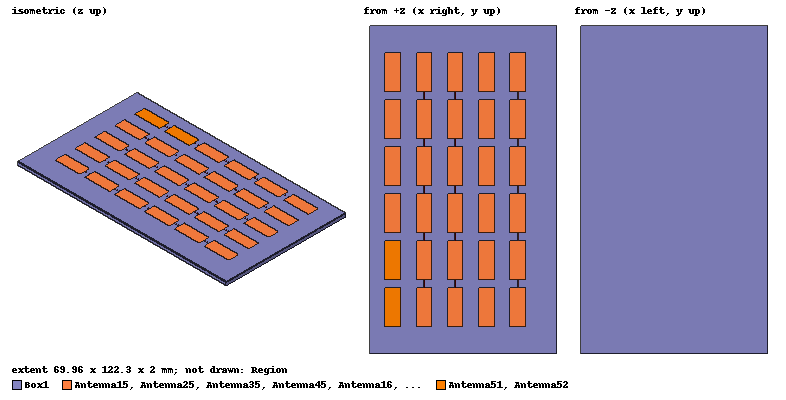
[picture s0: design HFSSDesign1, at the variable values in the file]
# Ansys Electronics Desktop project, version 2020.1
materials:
  vacuum: permittivity=1
  FR4_epoxy: permittivity=4.4 dielectric_loss_tangent=0.02
  Material1: permittivity=2.2 dielectric_loss_tangent=0.002

design HFSSDesign1 (HFSS, DrivenTerminal, model units mm)
options: Calculate_Lossy_Dielectrics
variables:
  x0 = 11.66mm
  y0 = W+2.904mm
  h0 = 2mm
  Wfeed = 6.012mm
  Lfeed = 28mm
  Wmatch = 1.115mm
  Lmatch = 22.76mm
  W = 14.563mm
  L = lambda/10
  w1 = 0.254mm
  L1 = y0-W
  L2 = y0-W
  L3 = y0-W
  lambda = 58.25mm
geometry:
  Box1 [FR4_epoxy] = box(corner=(-4*x0, -y0, 0mm), size=(x0*6, y0*7, -h0))
  Region [vacuum] = region(absolute_offset=35mm on all sides)
  RFswitch21 = rectangle(corner=(-L/2-w1/2, W/2, 0mm), x_size=w1, y_size=L1)
  Antenna23 = rectangle(corner=(-L, -W/2+2*y0, 0mm), x_size=L, y_size=W)
  RFswitch22 = rectangle(corner=(-L/2-w1/2, W/2+y0, 0mm), x_size=w1, y_size=L3)
  Antenna13 = rectangle(corner=(-L+x0, -W/2+2*y0, 0mm), x_size=L, y_size=W)
  RFswitch11 = rectangle(corner=(-L/2-w1/2+x0, W/2, 0mm), x_size=w1, y_size=L2)
  RFswitch12 = rectangle(corner=(-L/2-w1/2+x0, W/2+y0, 0mm), x_size=w1, y_size=L2)
  Port13 = rectangle(corner=(x0, y0/2-W/2+2*y0, 0mm), y_size=W, z_size=-h0)
  Port14 = rectangle(corner=(x0, y0/2-W/2+3*y0, 0mm), y_size=W, z_size=-h0)
  Antenna14 = rectangle(corner=(-L+x0, -W/2+3*y0, 0mm), x_size=L, y_size=W)
  Antenna15 = rectangle(corner=(-L+x0, -W/2+4*y0, 0mm), x_size=L, y_size=W)
  Antenna24 = rectangle(corner=(-L, -W/2+3*y0, 0mm), x_size=L, y_size=W)
  Antenna25 = rectangle(corner=(-L, -W/2+4*y0, 0mm), x_size=L, y_size=W)
  Port23 = rectangle(corner=(0mm, y0/2-W/2+2*y0, 0mm), y_size=W, z_size=-h0)
  Port24 = rectangle(corner=(0mm, y0/2-W/2+3*y0, 0mm), y_size=W, z_size=-h0)
  Antenna31 = rectangle(corner=(-L-x0, -W/2, 0mm), x_size=L, y_size=W)
  Antenna32 = rectangle(corner=(-L-x0, -W/2+y0, 0mm), x_size=L, y_size=W)
  Antenna33 = rectangle(corner=(-L-x0, -W/2+2*y0, 0mm), x_size=L, y_size=W)
  Antenna34 = rectangle(corner=(-L-x0, -W/2+3*y0, 0mm), x_size=L, y_size=W)
  Antenna35 = rectangle(corner=(-L-x0, -W/2+4*y0, 0mm), x_size=L, y_size=W)
  Antenna41 = rectangle(corner=(-L-2*x0, -W/2, 0mm), x_size=L, y_size=W)
  Antenna42 = rectangle(corner=(-L-2*x0, -W/2+y0, 0mm), x_size=L, y_size=W)
  Antenna43 = rectangle(corner=(-L-2*x0, -W/2+2*y0, 0mm), x_size=L, y_size=W)
  Antenna44 = rectangle(corner=(-L-2*x0, -W/2+3*y0, 0mm), x_size=L, y_size=W)
  Antenna45 = rectangle(corner=(-L-2*x0, -W/2+4*y0, 0mm), x_size=L, y_size=W)
  Antenna51 = rectangle(corner=(-L-3*x0, -W/2, 0mm), x_size=L, y_size=W)
  Antenna52 = rectangle(corner=(-L-3*x0, -W/2+y0, 0mm), x_size=L, y_size=W)
  Antenna53 = rectangle(corner=(-L-3*x0, -W/2+y0*2, 0mm), x_size=L, y_size=W)
  Antenna54 = rectangle(corner=(-L-3*x0, -W/2+y0*3, 0mm), x_size=L, y_size=W)
  Antenna55 = rectangle(corner=(-L-3*x0, -W/2+y0*4, 0mm), x_size=L, y_size=W)
  Port31 = rectangle(corner=(-x0, y0/2-W/2, 0mm), y_size=W, z_size=-h0)
  Port32 = rectangle(corner=(-x0, y0/2-W/2+y0, 0mm), y_size=W, z_size=-h0)
  Port33 = rectangle(corner=(-x0, y0/2-W/2+2*y0, 0mm), y_size=W, z_size=-h0)
  Port34 = rectangle(corner=(-x0, y0/2-W/2+3*y0, 0mm), y_size=W, z_size=-h0)
  Port41 = rectangle(corner=(-2*x0, y0/2-W/2, 0mm), y_size=W, z_size=-h0)
  Port42 = rectangle(corner=(-2*x0, y0/2-W/2+y0, 0mm), y_size=W, z_size=-h0)
  Port43 = rectangle(corner=(-2*x0, y0/2-W/2+2*y0, 0mm), y_size=W, z_size=-h0)
  Port44 = rectangle(corner=(-2*x0, y0/2-W/2+3*y0, 0mm), y_size=W, z_size=-h0)
  Port51 = rectangle(corner=(-3*x0, y0/2-W/2, 0mm), y_size=W, z_size=-h0)
  Port52 = rectangle(corner=(-3*x0, y0/2-W/2+y0, 0mm), y_size=W, z_size=-h0)
  Port53 = rectangle(corner=(-3*x0, y0/2-W/2+2*y0, 0mm), y_size=W, z_size=-h0)
  Port54 = rectangle(corner=(-3*x0, y0/2-W/2+3*y0, 0mm), y_size=W, z_size=-h0)
  Antenna11 = rectangle(corner=(-L+x0, -W/2, 0mm), x_size=L, y_size=W)
  Port11 = rectangle(corner=(x0, y0/2-W/2, 0mm), y_size=W, z_size=-h0)
  Antenna12 = rectangle(corner=(-L+x0, -W/2+y0, 0mm), x_size=L, y_size=W)
  Port12 = rectangle(corner=(x0, y0/2-W/2+y0, 0mm), y_size=W, z_size=-h0)
  Antenna21 = rectangle(corner=(-L, -W/2, 0mm), x_size=L, y_size=W)
  Antenna22 = rectangle(corner=(-L, -W/2+y0, 0mm), x_size=L, y_size=W)
  Port21 = rectangle(corner=(0mm, y0/2-W/2, 0mm), y_size=W, z_size=-h0)
  Port22 = rectangle(corner=(0mm, y0/2-W/2+y0, 0mm), y_size=W, z_size=-h0)
  RFswitch23 = rectangle(corner=(-L/2-w1/2, W/2+2*y0, 0mm), x_size=w1, y_size=L3)
  RFswitch24 = rectangle(corner=(-L/2-w1/2, W/2+3*y0, 0mm), x_size=w1, y_size=L3)
  RFswitch13 = rectangle(corner=(-L/2-w1/2+x0, W/2+2*y0, 0mm), x_size=w1, y_size=L2)
  RFswitch14 = rectangle(corner=(-L/2-w1/2+x0, W/2+3*y0, 0mm), x_size=w1, y_size=L2)
  RFswitch31 = rectangle(corner=(-L/2-w1/2-x0, W/2, 0mm), x_size=w1, y_size=L1)
  RFswitch32 = rectangle(corner=(-L/2-w1/2-x0, W/2+y0, 0mm), x_size=w1, y_size=L1)
  RFswitch33 = rectangle(corner=(-L/2-w1/2-x0, W/2+2*y0, 0mm), x_size=w1, y_size=L1)
  RFswitch34 = rectangle(corner=(-L/2-w1/2-x0, W/2+3*y0, 0mm), x_size=w1, y_size=L1)
  RFswitch41 = rectangle(corner=(-L/2-w1/2-2*x0, W/2, 0mm), x_size=w1, y_size=L1)
  RFswitch42 = rectangle(corner=(-L/2-w1/2-2*x0, W/2+y0, 0mm), x_size=w1, y_size=L1)
  RFswitch43 = rectangle(corner=(-L/2-w1/2-2*x0, W/2+2*y0, 0mm), x_size=w1, y_size=L1)
  RFswitch44 = rectangle(corner=(-L/2-w1/2-2*x0, W/2+3*y0, 0mm), x_size=w1, y_size=L1)
  RFswitch51 = rectangle(corner=(-L/2-w1/2-3*x0, W/2, 0mm), x_size=w1, y_size=L1)
  RFswitch52 = rectangle(corner=(-L/2-w1/2-3*x0, W/2+y0, 0mm), x_size=w1, y_size=L1)
  RFswitch53 = rectangle(corner=(-L/2-w1/2-3*x0, W/2+2*y0, 0mm), x_size=w1, y_size=L1)
  RFswitch54 = rectangle(corner=(-L/2-w1/2-3*x0, W/2+3*y0, 0mm), x_size=w1, y_size=L1)
  Antenna16 = rectangle(corner=(-L+x0, -W/2+5*y0, 0mm), x_size=L, y_size=W)
  RFswitch15 = rectangle(corner=(-L/2-w1/2+x0, W/2+4*y0, 0mm), x_size=w1, y_size=L2)
  Antenna26 = rectangle(corner=(-L, -W/2+5*y0, 0mm), x_size=L, y_size=W)
  RFswitch25 = rectangle(corner=(-L/2-w1/2, W/2+4*y0, 0mm), x_size=w1, y_size=L3)
  Antenna36 = rectangle(corner=(-L-x0, -W/2+5*y0, 0mm), x_size=L, y_size=W)
  RFswitch35 = rectangle(corner=(-L/2-w1/2-x0, W/2+4*y0, 0mm), x_size=w1, y_size=L1)
  Antenna46 = rectangle(corner=(-L-2*x0, -W/2+5*y0, 0mm), x_size=L, y_size=W)
  RFswitch45 = rectangle(corner=(-L/2-w1/2-2*x0, W/2+4*y0, 0mm), x_size=w1, y_size=L1)
  Antenna56 = rectangle(corner=(-L-3*x0, -W/2+y0*5, 0mm), x_size=L, y_size=W)
  RFswitch55 = rectangle(corner=(-L/2-w1/2-3*x0, W/2+4*y0, 0mm), x_size=w1, y_size=L1)
  Port15 = rectangle(corner=(x0, y0/2-W/2+4*y0, 0mm), y_size=W, z_size=-h0)
  Port25 = rectangle(corner=(0mm, y0/2-W/2+4*y0, 0mm), y_size=W, z_size=-h0)
  Port35 = rectangle(corner=(-x0, y0/2-W/2+4*y0, 0mm), y_size=W, z_size=-h0)
  Port45 = rectangle(corner=(-2*x0, y0/2-W/2+4*y0, 0mm), y_size=W, z_size=-h0)
  Port55 = rectangle(corner=(-3*x0, y0/2-W/2+4*y0, 0mm), y_size=W, z_size=-h0)
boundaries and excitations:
  Rad1: Radiation Objects=Region
  PerfE_SW21: Perfect E Objects=RFswitch21
  PerfE_Patch23: Perfect E Objects=Antenna23
  PerfE_SW22: Perfect E Objects=RFswitch22
  PerfE_Patch13: Perfect E Objects=Antenna13
  PerfE_SW11: Perfect E Objects=RFswitch11
  PerfE_SW12: Perfect E Objects=RFswitch12
  PerfE_Patch14: Perfect E Objects=Antenna14
  PerfE_Patch15: Perfect E Objects=Antenna15
  PerfE_Patch24: Perfect E Objects=Antenna24
  PerfE_Patch25: Perfect E Objects=Antenna25
  PerfE_Patch31: Perfect E Objects=Antenna31
  PerfE_Patch32: Perfect E Objects=Antenna32
  PerfE_Patch33: Perfect E Objects=Antenna33
  PerfE_Patch34: Perfect E Objects=Antenna34
  PerfE_Patch35: Perfect E Objects=Antenna35
  PerfE_Patch41: Perfect E Objects=Antenna41
  PerfE_Patch42: Perfect E Objects=Antenna42
  PerfE_Patch43: Perfect E Objects=Antenna43
  PerfE_Patch44: Perfect E Objects=Antenna44
  PerfE_Patch45: Perfect E Objects=Antenna45
  PerfE_Patch51: Perfect E Objects=Antenna51
  PerfE_Patch52: Perfect E Objects=Antenna52
  PerfE_Patch53: Perfect E Objects=Antenna53
  PerfE_Patch54: Perfect E Objects=Antenna54
  PerfE_Patch55: Perfect E Objects=Antenna55
  PerfE_Patch11: Perfect E Objects=Antenna11
  PerfE_Patch12: Perfect E Objects=Antenna12
  PerfE_Patch21: Perfect E Objects=Antenna21
  PerfE_Patch22: Perfect E Objects=Antenna22
  PerfE_SW23: Perfect E Objects=RFswitch23
  PerfE_SW24: Perfect E Objects=RFswitch24
  PerfE_SW13: Perfect E Objects=RFswitch13
  PerfE_SW14: Perfect E Objects=RFswitch14
  PerfE_SW31: Perfect E Objects=RFswitch31
  PerfE_SW32: Perfect E Objects=RFswitch32
  PerfE_SW33: Perfect E Objects=RFswitch33
  PerfE_SW34: Perfect E Objects=RFswitch34
  PerfE_SW41: Perfect E Objects=RFswitch41
  PerfE_SW42: Perfect E Objects=RFswitch42
  PerfE_SW43: Perfect E Objects=RFswitch43
  PerfE_SW44: Perfect E Objects=RFswitch44
  PerfE_SW51: Perfect E Objects=RFswitch51
  PerfE_SW52: Perfect E Objects=RFswitch52
  PerfE_SW53: Perfect E Objects=RFswitch53
  PerfE_SW54: Perfect E Objects=RFswitch54
  PerfE_Patch16: Perfect E Objects=Antenna16
  PerfE_Patch26: Perfect E Objects=Antenna26
  PerfE_Patch36: Perfect E Objects=Antenna36
  PerfE_Patch46: Perfect E Objects=Antenna46
  PerfE_Patch56: Perfect E Objects=Antenna56
  PerfE_SW15: Perfect E Objects=RFswitch15
  PerfE_SW25: Perfect E Objects=RFswitch25
  PerfE_SW35: Perfect E Objects=RFswitch35
  PerfE_SW45: Perfect E Objects=RFswitch45
  PerfE_SW55: Perfect E Objects=RFswitch55
  Antenna13_T1: Terminal port=P13 Edges=Antenna13.edge(x opposite corner) TerminalResistance=50ohm
  Antenna14_T1: Terminal port=P14 Edges=Antenna14.edge(x opposite corner) TerminalResistance=50ohm
  Antenna23_T1: Terminal port=P23 Edges=Antenna23.edge(x opposite corner) TerminalResistance=50ohm
  Antenna24_T1: Terminal port=P24 Edges=Antenna24.edge(x opposite corner) TerminalResistance=50ohm
  Antenna31_T1: Terminal port=P31 Edges=Antenna31.edge(x opposite corner) TerminalResistance=50ohm
  Antenna32_T1: Terminal port=P32 Edges=Antenna32.edge(x opposite corner) TerminalResistance=50ohm
  Antenna33_T1: Terminal port=P33 Edges=Antenna33.edge(x opposite corner) TerminalResistance=50ohm
  Antenna34_T1: Terminal port=P34 Edges=Antenna34.edge(x opposite corner) TerminalResistance=50ohm
  Antenna41_T1: Terminal port=P41 Edges=Antenna41.edge(x opposite corner) TerminalResistance=50ohm
  Antenna42_T1: Terminal port=P42 Edges=Antenna42.edge(x opposite corner) TerminalResistance=50ohm
  Antenna43_T1: Terminal port=P43 Edges=Antenna43.edge(x opposite corner) TerminalResistance=50ohm
  Antenna44_T1: Terminal port=P44 Edges=Antenna44.edge(x opposite corner) TerminalResistance=50ohm
  Antenna51_T1: Terminal port=P51 Edges=Antenna51.edge(x opposite corner) TerminalResistance=50ohm
  Antenna52_T1: Terminal port=P52 Edges=Antenna52.edge(x opposite corner) TerminalResistance=50ohm
  Antenna53_T1: Terminal port=P53 Edges=Antenna53.edge(x opposite corner) TerminalResistance=50ohm
  Antenna54_T1: Terminal port=P54 Edges=Antenna54.edge(x opposite corner) TerminalResistance=50ohm
  Antenna11_T1: Terminal port=P11 Edges=Antenna11.edge(x opposite corner) TerminalResistance=50ohm
  Antenna12_T1: Terminal port=P12 Edges=Antenna12.edge(x opposite corner) TerminalResistance=50ohm
  Antenna21_T1: Terminal port=P21 Edges=Antenna21.edge(x opposite corner) TerminalResistance=50ohm
  Antenna22_T1: Terminal port=P22 Edges=Antenna22.edge(x opposite corner) TerminalResistance=50ohm
  Antenna15_T1: Terminal port=P15 Edges=Antenna15.edge(x opposite corner) TerminalResistance=50ohm
  Antenna25_T1: Terminal port=P25 Edges=Antenna25.edge(x opposite corner) TerminalResistance=50ohm
  Antenna35_T1: Terminal port=P35 Edges=Antenna35.edge(x opposite corner) TerminalResistance=50ohm
  Antenna45_T1: Terminal port=P45 Edges=Antenna45.edge(x opposite corner) TerminalResistance=50ohm
  Antenna55_T1: Terminal port=P55 Edges=Antenna55.edge(x opposite corner) TerminalResistance=50ohm
  P13: Lumped Port Faces=Port13.face Impedance=50ohm
  P14: Lumped Port Faces=Port14.face Impedance=50ohm
  P23: Lumped Port Faces=Port23.face Impedance=50ohm
  P24: Lumped Port Faces=Port24.face Impedance=50ohm
  P31: Lumped Port Faces=Port31.face Impedance=50ohm
  P32: Lumped Port Faces=Port32.face Impedance=50ohm
  P33: Lumped Port Faces=Port33.face Impedance=50ohm
  P34: Lumped Port Faces=Port34.face Impedance=50ohm
  P41: Lumped Port Faces=Port41.face Impedance=50ohm
  P42: Lumped Port Faces=Port42.face Impedance=50ohm
  P43: Lumped Port Faces=Port43.face Impedance=50ohm
  P44: Lumped Port Faces=Port44.face Impedance=50ohm
  P51: Lumped Port Faces=Port51.face Impedance=50ohm
  P52: Lumped Port Faces=Port52.face Impedance=50ohm
  P53: Lumped Port Faces=Port53.face Impedance=50ohm
  P54: Lumped Port Faces=Port54.face Impedance=50ohm
  P11: Lumped Port Faces=Port11.face Impedance=50ohm
  P12: Lumped Port Faces=Port12.face Impedance=50ohm
  P21: Lumped Port Faces=Port21.face Impedance=50ohm
  P22: Lumped Port Faces=Port22.face Impedance=50ohm
  P15: Lumped Port Faces=Port15.face Impedance=50ohm
  P25: Lumped Port Faces=Port25.face Impedance=50ohm
  P35: Lumped Port Faces=Port35.face Impedance=50ohm
  P45: Lumped Port Faces=Port45.face Impedance=50ohm
  P55: Lumped Port Faces=Port55.face Impedance=50ohm
  reference conductors: Antenna56
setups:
  Setup1: HfssDriven Frequency=5.15GHz MaxDeltaS=0.02 MaximumPasses=12 MinimumPasses=1 MinimumConvergedPasses=1 PercentRefinement=30 BasisOrder=1 PortAccuracy=2
    sweep Sweep: 5GHz to 6GHz step 5MHz; Type=Discrete
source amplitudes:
  P13:1: 1V 0deg
  P14:1, P23:1, P24:1, P31:1, P32:1, P33:1, P34:1, P41:1, P42:1, P43:1, P44:1, P51:1, P52:1, P53:1, P54:1, P11:1, P12:1, P21:1, P22:1, P15:1, P25:1, P35:1, P45:1, P55:1: 0V 0deg
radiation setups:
  3D: Infinite Sphere Theta=-180deg..180deg step 1deg Phi=-180deg..180deg step 1deg
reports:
  Terminal S Parameter Plot 1: dB(St(Antenna11_T1,Antenna11_T1)), dB(St(Antenna12_T1,Antenna12_T1)), dB(St(Antenna13_T1,Antenna13_T1)), dB(St(Antenna14_T1,Antenna14_T1)), dB(St(Antenna15_T1,Antenna15_T1)), dB(St(Antenna21_T1,Antenna21_T1)), dB(St(Antenna22_T1,Antenna22_T1)), dB(St(Antenna23_T1,Antenna23_T1)), dB(St(Antenna24_T1,Antenna24_T1)), dB(St(Antenna25_T1,Antenna25_T1)), dB(St(Antenna31_T1,Antenna31_T1)), dB(St(Antenna32_T1,Antenna32_T1)), dB(St(Antenna33_T1,Antenna33_T1)), dB(St(Antenna34_T1,Antenna34_T1)), dB(St(Antenna35_T1,Antenna35_T1)), dB(St(Antenna41_T1,Antenna41_T1)), dB(St(Antenna42_T1,Antenna42_T1)), dB(St(Antenna43_T1,Antenna43_T1)), dB(St(Antenna44_T1,Antenna44_T1)), dB(St(Antenna45_T1,Antenna45_T1)), dB(St(Antenna51_T1,Antenna51_T1)), dB(St(Antenna52_T1,Antenna52_T1)), dB(St(Antenna53_T1,Antenna53_T1)), dB(St(Antenna54_T1,Antenna54_T1)), dB(St(Antenna55_T1,Antenna55_T1)) vs Freq on Setup1 : Sweep
